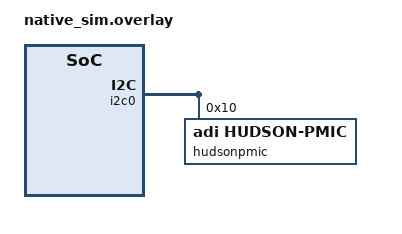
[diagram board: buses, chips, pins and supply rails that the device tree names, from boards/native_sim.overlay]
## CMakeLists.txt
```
cmake_minimum_required(VERSION 3.20.0)

find_package(Zephyr REQUIRED HINTS $ENV{ZEPHYR_BASE})
project(hudson_pmic_test)

target_sources(app PRIVATE src/emul_hudson.c)
target_sources(app PRIVATE src/main.c)
```

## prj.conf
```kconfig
CONFIG_ZTEST=y
CONFIG_LOG=y
CONFIG_I2C=y
CONFIG_EMUL=y
CONFIG_LOG_DEFAULT_LEVEL=4
CONFIG_REGULATOR=y
CONFIG_REGULATOR_HUDSON=y
CONFIG_DEBUG_OPTIMIZATIONS=y
```

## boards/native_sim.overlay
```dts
/*
 * SPDX-FileCopyrightText: Copyright (c) 2023 Carl Zeiss Meditec AG
 * SPDX-License-Identifier: Apache-2.0
 */

&i2c0 {
	status = "okay";

    hudsonpmic: pmic@10 {
		status = "okay";
        compatible = "adi,hudson-pmic";
        reg = <0x10>;

		buck0: buck0 {
			status = "okay";
			adi,turn-on-delay-us = <100>;
			adi,turn-off-delay-us = <100>;
			adi,rok-delay-us = <50>;
			adi,trim-ilr = <0>;
			adi,trim-vreg = <0>;
		};

		buck1: buck1 {
			status = "okay";
			regulator-always-on;
			adi,turn-on-delay-us = <100>;
			adi,turn-off-delay-us = <100>;
			adi,rok-delay-us = <50>;
		};

		buck2: buck2 {
			status = "okay";
			regulator-always-on;
			adi,turn-on-delay-us = <100>;
			adi,turn-off-delay-us = <100>;
			adi,rok-delay-us = <50>;
		};

		ldo0: ldo0 {
			status = "okay";
			adi,turn-on-delay-us = <50>;
			adi,turn-off-delay-us = <50>;
		};

		ldo1: ldo1 {
			status = "okay";
			adi,turn-on-delay-us = <50>;
			adi,turn-off-delay-us = <50>;
		};

		ldo2: ldo2 {
			status = "okay";
			adi,turn-on-delay-us = <50>;
			adi,turn-off-delay-us = <50>;
		};

		ldo3: ldo3 {
			status = "okay";
			adi,turn-on-delay-us = <50>;
			adi,turn-off-delay-us = <50>;
		};
    };
};
```

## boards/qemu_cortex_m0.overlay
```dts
/ {
	aliases {
		hudsonpmic = &hudsonpmic;
		buck0 = &buck0;
		buck1 = &buck1;
		buck2 = &buck2;
		ldo0 = &ldo0;
		ldo1 = &ldo1;
		ldo2 = &ldo2;
		ldo3 = &ldo3;
	};
	fake_i2c_bus: i2c@100 {
		status = "okay";
		compatible = "zephyr,i2c-emul-controller";
		clock-frequency = <I2C_BITRATE_STANDARD>;
		#address-cells = <1>;
		#size-cells = <0>;
		reg = <0x100 4>;
	};
};

&pinctrl {
	i2c1_default_alt: i2c1_default_alt {
		group1 {
			psels = <NRF_PSEL(TWIM_SDA, 0, 4)>,
					<NRF_PSEL(TWIM_SCL, 0, 5)>;
		};
	};
};

&fake_i2c_bus {
    hudsonpmic: pmic@10 {
		status = "okay";
        compatible = "adi,hudson-pmic";
        reg = <0x10>;

		buck0: buck0 {
			status = "okay";
			adi,turn-on-delay-us = <100>;
			adi,turn-off-delay-us = <100>;
			adi,rok-delay-us = <50>;
			adi,trim-ilr = <0>;
			adi,trim-vreg = <0>;
		};

		buck1: buck1 {
			status = "okay";
			regulator-always-on;
			adi,turn-on-delay-us = <100>;
			adi,turn-off-delay-us = <100>;
			adi,rok-delay-us = <50>;
		};

		buck2: buck2 {
			status = "okay";
			regulator-always-on;
			adi,turn-on-delay-us = <100>;
			adi,turn-off-delay-us = <100>;
			adi,rok-delay-us = <50>;
		};

		ldo0: ldo0 {
			status = "okay";
			adi,turn-on-delay-us = <50>;
			adi,turn-off-delay-us = <50>;
		};

		ldo1: ldo1 {
			status = "okay";
			adi,turn-on-delay-us = <50>;
			adi,turn-off-delay-us = <50>;
		};

		ldo2: ldo2 {
			status = "okay";
			adi,turn-on-delay-us = <50>;
			adi,turn-off-delay-us = <50>;
		};

		ldo3: ldo3 {
			status = "okay";
			adi,turn-on-delay-us = <50>;
			adi,turn-off-delay-us = <50>;
		};
    };
};
```

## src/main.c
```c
#include <zephyr/ztest.h>
#include <zephyr/device.h>
#include <zephyr/drivers/regulator.h>
#include <zephyr/dt-bindings/regulator/hudson.h>
#include <zephyr/logging/log.h>

LOG_MODULE_REGISTER(test_hudson_pmic, LOG_LEVEL_INF);

struct hudson_fixture {
    const struct device *pmic;
};

static void *hudson_pmic_setup(void)
{
    static ZTEST_DMEM struct hudson_fixture fixture;

    fixture.pmic = DEVICE_DT_GET(DT_NODELABEL(hudsonpmic));
    k_object_access_all_grant(fixture.pmic);

    zassert_true(device_is_ready(fixture.pmic), "PMIC not found");

    return &fixture;
}

static void test_buck(const struct device *dev, bool always_on)
{
    regulator_error_flags_t error_flags;
    int32_t voltage, voltage2;
    regulator_mode_t mode;
    int ret, voltage_count;

    if (!always_on) {
        ret = regulator_enable(dev);
        zassert_equal(ret, 0, "Failed to enable BUCK regulator");
    }
    voltage_count = regulator_count_voltages(dev);
    zassert_true(voltage_count > 0, "BUCK regulator does not support any voltages");

    for (int i = 0; i < voltage_count; i++) {
        ret = regulator_list_voltage(dev, i, &voltage);
        zassert_equal(ret, 0, "Failed to list voltage for BUCK regulator");
        LOG_INF("Supported voltage %d for BUCK: %d uV", i, voltage);
    }

    ret = regulator_set_voltage(dev, voltage, voltage);
    zassert_equal(ret, 0, "Failed to set voltage for BUCK regulator");

    ret = regulator_get_voltage(dev, &voltage2);
    zassert_equal(voltage, voltage2, "Failed to get voltage for BUCK regulator");

    ret = regulator_get_error_flags(dev, &error_flags);
    zassert_equal(error_flags, 0, "Failed to get error flags for BUCK regulator");

    if (!always_on) {
        ret = regulator_set_mode(dev, HUDSON_DCDC_MODE_FPWM);
        zassert_equal(ret, 0, "Failed to set mode for BUCK regulator");

        ret = regulator_get_mode(dev, &mode);
        zassert_equal(HUDSON_DCDC_MODE_FPWM, mode, "Failed to get mode for BUCK regulator");

        ret = regulator_disable(dev);
        zassert_equal(ret, 0, "Failed to disable BUCK regulator");
    }
}

static void test_ldo(const struct device *dev)
{
    int ret;

    ret = regulator_enable(dev);
    zassert_equal(ret, 0, "Failed to enable LDO regulator");


    ret = regulator_disable(dev);
    zassert_equal(ret, 0, "Failed to disable LDO regulator");
}

ZTEST(hudson_pmic, test_pmic_device_ready)
{
    const struct device *pmic_dev = DEVICE_DT_GET(DT_NODELABEL(hudsonpmic));

    zassert_true(device_is_ready(pmic_dev), "PMIC device is not ready");
}

ZTEST(hudson_pmic, test_buck0)
{
    const struct device *dev = DEVICE_DT_GET(DT_NODELABEL(buck0));
    test_buck(dev, false);
}

ZTEST(hudson_pmic, test_buck1)
{
    const struct device *dev = DEVICE_DT_GET(DT_NODELABEL(buck1));
    test_buck(dev, true);
}

ZTEST(hudson_pmic, test_buck2)
{
    const struct device *dev = DEVICE_DT_GET(DT_NODELABEL(buck2));
    test_buck(dev, true);
}

ZTEST(hudson_pmic, test_ldo0)
{
    const struct device *dev = DEVICE_DT_GET(DT_NODELABEL(ldo0));
    test_ldo(dev);
}

ZTEST(hudson_pmic, test_ldo1)
{
    const struct device *dev = DEVICE_DT_GET(DT_NODELABEL(ldo1));
    test_ldo(dev);
}

ZTEST(hudson_pmic, test_ldo2)
{
    const struct device *dev = DEVICE_DT_GET(DT_NODELABEL(ldo2));
    test_ldo(dev);
}

ZTEST(hudson_pmic, test_ldo3)
{
    const struct device *dev = DEVICE_DT_GET(DT_NODELABEL(ldo3));
    test_ldo(dev);
}

ZTEST_SUITE(hudson_pmic, NULL, hudson_pmic_setup, NULL, NULL, NULL);
```

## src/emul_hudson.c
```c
#include <zephyr/device.h>
#include <zephyr/drivers/emul.h>
#include <zephyr/drivers/i2c.h>
#include <zephyr/drivers/i2c_emul.h>
#include <zephyr/logging/log.h>
#include <zephyr/sys/byteorder.h>

LOG_MODULE_REGISTER(emul_hudson, LOG_LEVEL_DBG);

#define DT_DRV_COMPAT adi_hudson_pmic

static volatile uint32_t emulated_registers[256];

static int hudson_regulator_emul_reg_read(uint32_t reg, uint32_t *val)
{
    if (reg >= ARRAY_SIZE(emulated_registers)) {
        LOG_ERR("Invalid register address 0x%02X", reg);
        return -EINVAL;
    }
    switch (reg) {
        default:
            *val = emulated_registers[reg];
            break;
    }

    return 0;
}

static int hudson_regulator_emul_reg_write(uint32_t reg, uint32_t val)
{
    if (reg >= ARRAY_SIZE(emulated_registers)) {
        LOG_ERR("Invalid register address 0x%02X", reg);
        return -EINVAL;
    }

    switch (reg) {
        case 0x24:
            /* Emulate the PMIC_STAT en status for the regulators */
            emulated_registers[reg] = val;
            emulated_registers[0] = emulated_registers[0] & 0xFFFFFFE0;
            emulated_registers[0] |= val | 0x1F;
            break;

        default:
            emulated_registers[reg] = val;
            break;
    }

    return 0;
}

static int hudson_regulator_emul_i2c(const struct emul *target, struct i2c_msg *msgs,
                   int num_msgs, int addr)
{
    struct hudson_regulator_emul_data *data;
    unsigned int val;
    int reg;
    int rc = 0;

    data = target->data;

    if (num_msgs != 2) {
        LOG_ERR("Invalid number of messages: %d", num_msgs);
        return -EIO;
    }

    reg = msgs[0].buf[0];

    if ((msgs[1].flags & I2C_MSG_READ) && (msgs[1].flags & I2C_MSG_STOP)) {
        rc = hudson_regulator_emul_reg_read(reg, &val);
        sys_put_le32(val, msgs[1].buf);
    } else if (msgs[1].flags & I2C_MSG_STOP) {
        rc = hudson_regulator_emul_reg_write(reg, sys_get_le32(msgs[1].buf));
    }

    return rc;
}

static int hudson_regulator_emul_init(const struct emul *pmic_emul, const struct device *parent)
{
    ARG_UNUSED(pmic_emul);
    ARG_UNUSED(parent);

    return 0;
}

static const struct i2c_emul_api hudson_regulator_emul_bus_api = {
    .transfer = hudson_regulator_emul_i2c,
};

#define HUDSON_REGULATOR_EMUL_INIT(inst)                                                        \
    EMUL_DT_INST_DEFINE(inst, hudson_regulator_emul_init,                                       \
                        NULL, NULL, &hudson_regulator_emul_bus_api,  NULL);

DT_INST_FOREACH_STATUS_OKAY(HUDSON_REGULATOR_EMUL_INIT)
```
